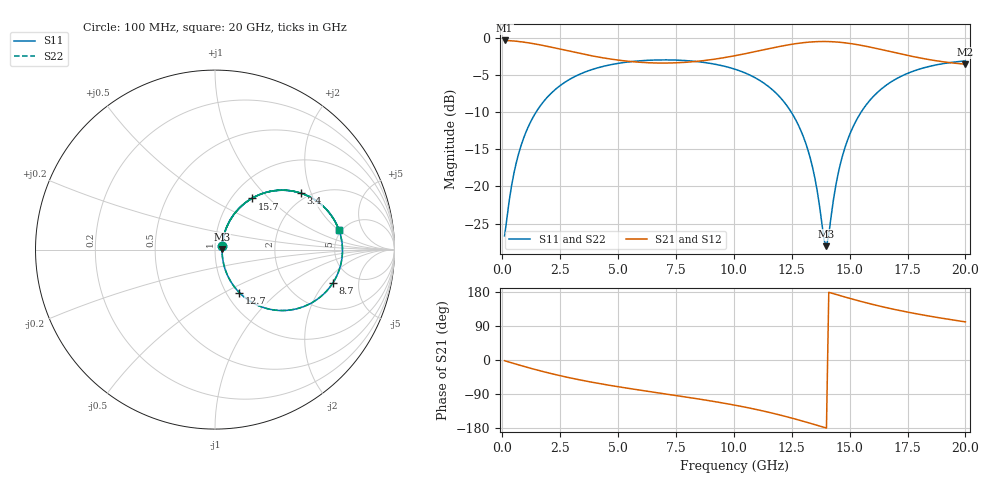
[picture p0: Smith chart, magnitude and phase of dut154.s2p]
! Touchstone file exported from HFSS 2026.1.0
!  File:  C:/ffzhzh/LocalFiles/Ansys_Project_Files/temp_train_TSV_RDL_154_1783052401_36532.aedt
!  Generated:  12:30:15 PM Jul  3, 2026
!  Design:  TSV_RDL
!  Project:  temp_train_TSV_RDL_154_1783052401_36532
! Variables:
!  h_bsmrdl = 2.38um
!  h_ox = 20um
!  h_rdl = 5um
!  h_sub = 71.78um
!  h_tmrdl = 5.71um
!  h_tsv = 71.78um
!  h_via = 3um
!  l_bsmrdl = 858.22um
!  l_sub = 4356.71um
!  l_tmrdl = 328.45um
!  m_sub = 200um
!  pitch = 58.46um
!  r_tsv = 9.23um
!  s_tmrdl = 10um
!  w_bsmrdl = 11.48um
!  w_sub = 500um
!  w_tmrdl = 11.27um
!  x_tsv_center1 = 334.085um
!  x_tsv_center2 = 1203.785um
!  x_tsv_center3 = 1543.505um
!  x_tsv_center4 = 2413.205um
!  x_tsv_center5 = 2752.925um
!  x_tsv_center6 = 3622.625um
# GHz S MA R 50.000000
! Terminal data exported
! Port[1] = TM_RDL1_1_T1
! Port[2] = TM_RDL5_1_T1
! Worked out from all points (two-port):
!   200 points, 100 MHz to 20 GHz, reference 50 ohm
!   highest |S21| = -0.36 dB at 100 MHz (marker M1); lowest = -3.5 dB at 20 GHz (marker M2)
!   |S21| within 3 dB of the highest: start of sweep to 6.308 GHz; 7.561 GHz to 19.37 GHz (11.8 GHz wide, 87.7 % of centre)
!   lowest |S11| = -28.0 dB at 14 GHz (marker M3), VSWR 1.08, Z = 54.1 + j0.383 ohm
!   |S11| at or under -10 dB: start of sweep to 1.46 GHz; 12.48 GHz to 15.5 GHz (3.02 GHz wide, 21.6 % of centre)
!   |S22| runs from -28.0 to -3.0 dB; largest |S21 - S12| = 1.7e-14
!   S11 on the Smith chart (normalised r, x): 100 MHz: 1.08, +0.05; 3.4 GHz: 1.82, +1.70; 8.7 GHz: 3.54, -2.44; 12.7 GHz: 1.15, -0.60; 15.7 GHz: 1.23, +0.80; 20 GHz: 4.75, +2.02
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0.1  0.04643 28.8  0.9598 -1.9  0.9598 -1.9  0.04643 28.8
! Gamma 0 0 0 0
! Port Impedance 50 0 50 0
0.4  0.1009 59.4  0.9547 -7.4  0.9547 -7.4  0.1009 59.4
0.6  0.1435 62.8  0.9485 -11.1  0.9485 -11.1  0.1435 62.9
1.2  0.2673 59.8  0.9213 -21.5  0.9213 -21.5  0.2673 59.8
2.1  0.422 48.7  0.866 -35.7  0.866 -35.7  0.422 48.7
3.4  0.5738 33.2  0.7823 -53.1  0.7823 -53.1  0.5738 33.2
3.5  0.5825 32.1  0.7765 -54.3  0.7765 -54.3  0.5825 32.1
5.1  0.6767 16.1  0.7047 -71.5  0.7047 -71.5  0.6767 16.1
6.8  0.71 1.1  0.6763 -87.3  0.6763 -87.3  0.7099 1.1
8.7  0.6833 -15.6  0.7024 -105.0  0.7024 -105.0  0.6832 -15.6
10.1  0.611 -29.5  0.7604 -119.8  0.7604 -119.8  0.6109 -29.4
11.6  0.4562 -47.0  0.8507 -139.3  0.8507 -139.3  0.4562 -46.9
12.7  0.2752 -60.5  0.9145 -156.6  0.9145 -156.6  0.2752 -60.4
13.4  0.1343 -63.5  0.9393 -168.8  0.9393 -168.8  0.1343 -63.3
13.9  0.04333 -23.9  0.9445 -177.8  0.9445 -177.8  0.04356 -23.7
14  0.0396 5.1  0.9442 -179.6  0.9442 -179.6  0.03989 5.2
14.4  0.1008 59.0  0.9382 173.2  0.9382 173.2  0.1009 58.9
14.7  0.1622 62.8  0.9291 167.9  0.9291 167.9  0.1623 62.7
15.7  0.3511 54.2  0.8776 151.2  0.8776 151.2  0.3511 54.2
16.7  0.4944 42.0  0.8116 136.6  0.8116 136.6  0.4944 42.0
18.3  0.6338 24.5  0.7195 117.3  0.7195 117.3  0.6338 24.5
20  0.6988 9.0  0.6646 100.6  0.6646 100.6  0.6988 9.0
